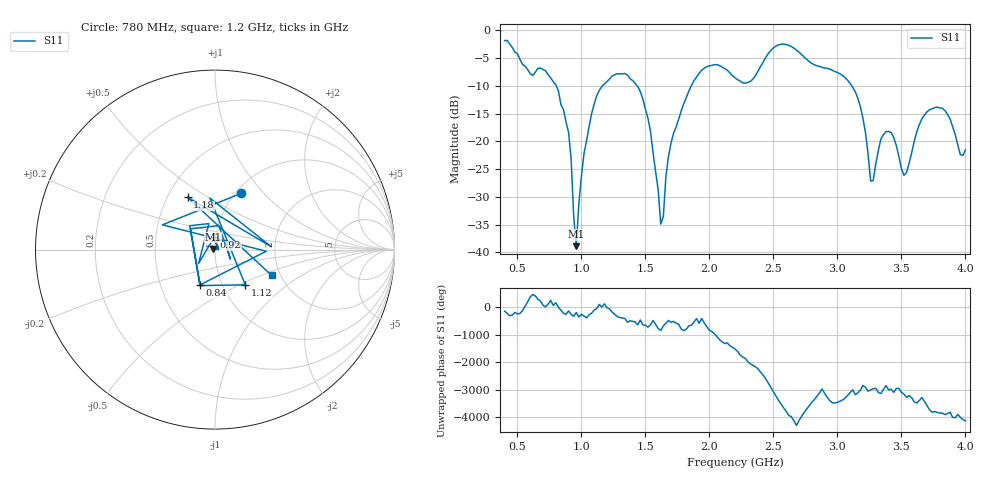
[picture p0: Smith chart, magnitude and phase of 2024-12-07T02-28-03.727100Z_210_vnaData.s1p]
!Created with skrf (http://scikit-rf.org).
# Hz S RI R 50.0
!freq ReS11 ImS11
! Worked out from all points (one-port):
!   181 points, 400 MHz to 4 GHz, reference 50 ohm
!   lowest |S11| = -38.9 dB at 960 MHz (marker M1), VSWR 1.02, Z = 48.9 + j0.336 ohm
!   |S11| at or under -10 dB: 803.8 MHz to 1.164 GHz (360.5 MHz wide, 36.6 % of centre); 1.437 GHz to 1.858 GHz (421.4 MHz wide, 25.6 % of centre); 3.112 GHz to end of sweep
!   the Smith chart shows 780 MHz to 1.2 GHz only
!   S11 on the Smith chart (normalised r, x): 780 MHz: 1.07, +0.76; 840 MHz: 0.78, -0.32; 920 MHz: 0.98, +0.14; 1.12 GHz: 1.28, -0.54; 1.18 GHz: 0.63, +0.41; 1.2 GHz: 1.80, -0.58
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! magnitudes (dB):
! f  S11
! 400 MHz  -1.8
! 780 MHz  -9.2
! 840 MHz  -13.4
! 860 MHz  -14.3
! 920 MHz  -23.3
! 960 MHz  -38.9
! 1.02 GHz  -22.2
! 1.12 GHz  -11.7
! 1.18 GHz  -9.6
! 1.2 GHz  -9.2
! 1.3 GHz  -7.8
! 1.48 GHz  -12.4
! 1.54 GHz  -18.2
! 1.62 GHz  -34.9
! 1.68 GHz  -22.8
! 1.76 GHz  -16.0
! 1.96 GHz  -6.8
! 2.2 GHz  -8.5
! 2.66 GHz  -3.2
! 3.1 GHz  -9.6
! 3.2 GHz  -15.9
! 3.26 GHz  -27.2
! 3.38 GHz  -18.3
! 3.52 GHz  -26.1
! 3.56 GHz  -24.0
! 3.66 GHz  -15.9
! 3.76 GHz  -13.9
! 4 GHz  -21.6
